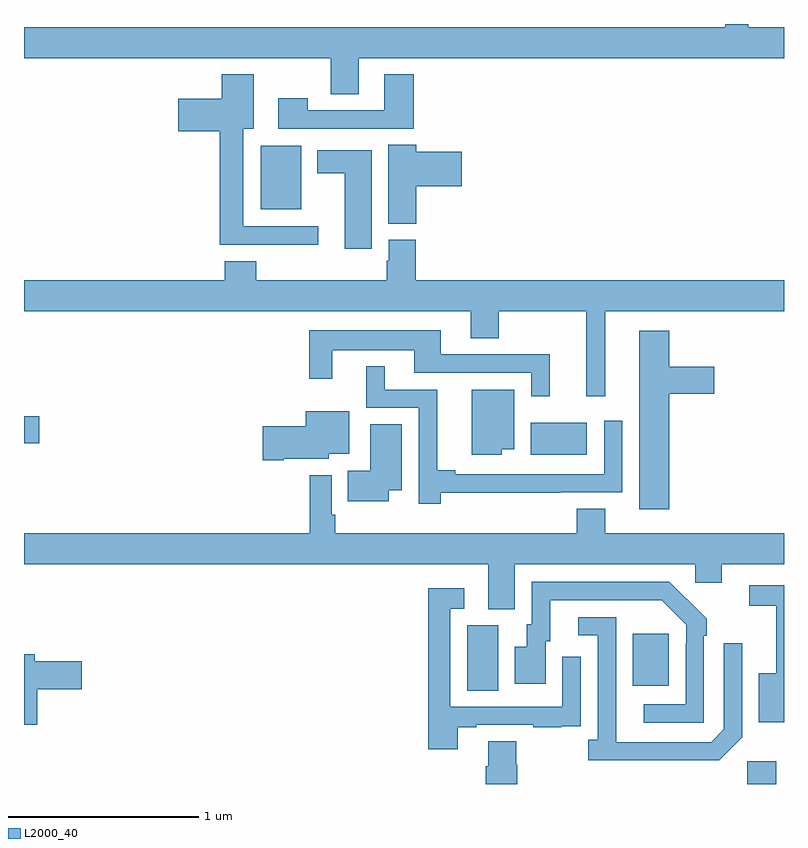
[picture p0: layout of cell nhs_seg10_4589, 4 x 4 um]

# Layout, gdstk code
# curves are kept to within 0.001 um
import gdstk
lib = gdstk.Library(unit=1e-6, precision=1e-09)
def R(c, l, rs):  # rectangles x0, y0, x1, y1
    for r in rs: c.add(gdstk.rectangle(r[:2], r[2:], *l))
def P(c, l, *ps):  # polygons
    for p in ps: c.add(gdstk.Polygon(p, *l))
L2000_40 = (2000, 40)

nhs_seg10_4589 = lib.new_cell('nhs_seg10_4589')
R(nhs_seg10_4589, L2000_40, [(376.806,1292.5,376.958,1292.62), (375.332,1292.992,375.496,1293.336), (376.205,1293.017,376.393,1293.292), (375.668,1294.232,375.961,1294.402), (373,1294.294,373.081,1294.436), (374.246,1295.525,374.458,1295.86)])
P(nhs_seg10_4589, L2000_40, [(374.761,1296.32),(377,1296.32),(377,1296.484),(376.813,1296.484),(376.813,1296.5),(376.691,1296.5),(376.691,1296.484),(373,1296.484),(373,1296.32),(374.614,1296.32),(374.614,1296.13),(374.761,1296.13)],
  [(374.548,1295.436),(374.155,1295.436),(374.155,1295.948),(374.209,1295.948),(374.209,1296.235),(374.042,1296.235),(374.042,1296.106),(373.812,1296.106),(373.812,1295.936),(374.03,1295.936),(374.03,1295.339),(374.548,1295.339)],
  [(375.05,1296.235),(374.897,1296.235),(374.897,1296.045),(374.493,1296.045),(374.493,1296.109),(374.337,1296.109),(374.337,1295.949),(375.05,1295.949)],
  [(375.065,1295.645),(375.304,1295.645),(375.304,1295.828),(375.065,1295.828),(375.065,1295.864),(374.918,1295.864),(374.918,1295.449),(375.065,1295.449)],
  [(374.83,1295.836),(374.543,1295.836),(374.543,1295.714),(374.687,1295.714),(374.687,1295.316),(374.83,1295.316)],
  [(375.35,1294.846),(375.498,1294.846),(375.498,1294.988),(375.959,1294.988),(375.959,1294.542),(376.058,1294.542),(376.058,1294.988),(377,1294.988),(377,1295.152),(375.062,1295.152),(375.062,1295.364),(374.921,1295.364),(374.921,1295.253),(374.909,1295.253),(374.909,1295.152),(374.222,1295.152),(374.222,1295.251),(374.057,1295.251),(374.057,1295.152),(373,1295.152),(373,1294.988),(375.35,1294.988)],
  [(375.767,1294.761),(375.193,1294.761),(375.193,1294.888),(374.502,1294.888),(374.502,1294.632),(374.623,1294.632),(374.623,1294.784),(375.053,1294.784),(375.053,1294.665),(375.669,1294.665),(375.669,1294.542),(375.767,1294.542)],
  [(376.397,1294.553),(376.633,1294.553),(376.633,1294.695),(376.397,1294.695),(376.397,1294.885),(376.238,1294.885),(376.238,1293.945),(376.397,1293.945)],
  [(375.194,1294.034),(375.824,1294.034),(375.824,1294.035),(376.149,1294.035),(376.149,1294.411),(376.053,1294.411),(376.053,1294.131),(375.271,1294.131),(375.271,1294.151),(375.176,1294.151),(375.176,1294.575),(374.899,1294.575),(374.899,1294.699),(374.801,1294.699),(374.801,1294.479),(375.078,1294.479),(375.078,1293.975),(375.194,1293.975)],
  [(375.514,1294.262),(375.58,1294.262),(375.58,1294.576),(375.356,1294.576),(375.356,1294.232),(375.514,1294.232)],
  [(374.368,1294.211),(374.604,1294.211),(374.604,1294.238),(374.713,1294.238),(374.713,1294.462),(374.483,1294.462),(374.483,1294.382),(374.256,1294.382),(374.256,1294.204),(374.368,1294.204)],
  [(374.92,1294.046),(374.989,1294.046),(374.989,1294.394),(374.822,1294.394),(374.822,1294.15),(374.704,1294.15),(374.704,1293.989),(374.92,1293.989)],
  [(375.583,1293.656),(376.533,1293.656),(376.533,1293.558),(376.672,1293.558),(376.672,1293.656),(377,1293.656),(377,1293.82),(376.06,1293.82),(376.06,1293.95),(375.908,1293.95),(375.908,1293.82),(374.639,1293.82),(374.639,1293.916),(374.619,1293.916),(374.619,1294.126),(374.503,1294.126),(374.503,1293.82),(373,1293.82),(373,1293.656),(375.443,1293.656),(375.443,1293.421),(375.583,1293.421)],
  [(376.578,1293.281),(376.593,1293.281),(376.593,1293.369),(376.396,1293.564),(375.672,1293.564),(375.672,1293.342),(375.647,1293.342),(375.647,1293.223),(375.584,1293.223),(375.584,1293.027),(375.745,1293.027),(375.745,1293.252),(375.769,1293.252),(375.769,1293.468),(376.357,1293.468),(376.485,1293.339),(376.485,1293.239),(376.482,1293.239),(376.482,1292.919),(376.263,1292.919),(376.263,1292.823),(376.578,1292.823)],
  [(377,1293.546),(376.818,1293.546),(376.818,1293.438),(376.958,1293.438),(376.958,1293.082),(376.868,1293.082),(376.868,1292.825),(377,1292.825)],
  [(375.283,1292.799),(375.379,1292.799),(375.379,1292.811),(375.679,1292.811),(375.679,1292.799),(375.827,1292.799),(375.827,1292.805),(375.929,1292.805),(375.929,1292.914),(375.93,1292.914),(375.93,1293.169),(375.834,1293.169),(375.834,1292.907),(375.243,1292.907),(375.243,1293.423),(375.316,1293.423),(375.316,1293.529),(375.127,1293.529),(375.127,1292.682),(375.283,1292.682)],
  [(376.779,1292.745),(376.779,1293.241),(376.683,1293.241),(376.683,1292.787),(376.617,1292.721),(376.117,1292.721),(376.116,1293.378),(375.918,1293.378),(375.918,1293.282),(376.02,1293.282),(376.02,1292.734),(375.969,1292.734),(375.969,1292.624),(376.658,1292.624)],
  [(373.07,1292.999),(373.303,1292.999),(373.303,1293.146),(373.057,1293.146),(373.057,1293.184),(373,1293.184),(373,1292.811),(373.07,1292.811)],
  [(375.596,1292.601),(375.591,1292.601),(375.591,1292.726),(375.443,1292.726),(375.443,1292.594),(375.431,1292.594),(375.431,1292.5),(375.596,1292.5)])

lib.write_gds('nhs_seg10_4589.gds')
